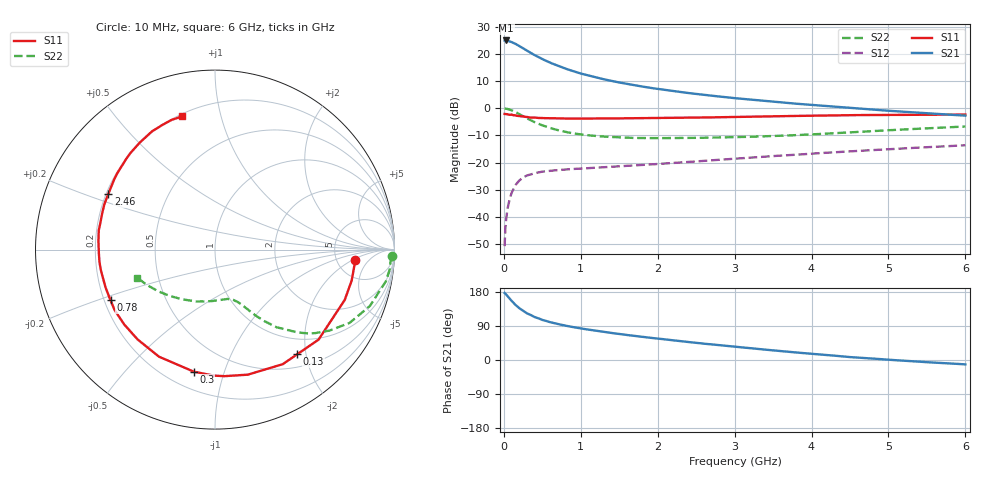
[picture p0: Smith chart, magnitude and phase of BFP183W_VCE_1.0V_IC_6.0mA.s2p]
! Infineon Technologies  Discrete & RF Semiconductors
! BFP183W
! VCE = 1.0 V,  IC =  6.0 mA
! Common Emitter S-Parameters:  Jan 2016
# GHz  S  MA  R  50
!  f  S11  S21  S12  S22
! GHz  MAG  ANG  MAG  ANG  MAG  ANG  MAG  ANG
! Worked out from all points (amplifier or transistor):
!   210 points, 10 MHz to 6 GHz, reference 50 ohm
!   highest |S21| = 24.9 dB at 30 MHz (marker M1)
!   |S21| within 3 dB of that: start of sweep to 256.6 MHz
!   unconditionally stable (mu >= 1): 1.553 GHz to end of sweep
!   at 185 MHz: K = 0.17, MSG = 25.1 dB, |S12| = -27.1 dB
!   at 1.52 GHz: K = 0.99, MSG = 15.4 dB, |S12| = -21.4 dB
!   at 6 GHz: K = 1.05, MAG = 4.1 dB, |S12| = -13.6 dB
!   S11 on the Smith chart (normalised r, x): 10 MHz: 7.51, -2.34; 130 MHz: 0.71, -1.84; 300 MHz: 0.31, -0.79; 780 MHz: 0.23, -0.22; 2.46 GHz: 0.21, +0.23; 6 GHz: 0.21, +0.76
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0.01  0.7838 -4.4  17.59 176.9  0.0029 91.2  0.9868 -2.1
0.02  0.7807 -8.7  17.63 175.2  0.0062 85.4  0.9796 -4.2
0.03  0.7807 -12.8  17.64 172.8  0.009 84.1  0.9799 -6.4
0.05  0.7753 -21.2  17.43 167.7  0.0145 78.9  0.9684 -10.5
0.1  0.7645 -41.0  16.52 156.3  0.0274 69.6  0.9184 -20.0
0.13  0.7414 -51.9  15.75 150.1  0.0339 63.7  0.8771 -25.0
0.15  0.7416 -59.4  15.34 145.6  0.0384 60.9  0.8536 -28.6
0.2  0.7204 -75.3  13.95 136.9  0.0466 54.2  0.781 -35.3
0.26  0.7019 -90.7  12.4 128.5  0.054 47.6  0.7012 -41.8
0.3  0.6901 -99.9  11.41 123.2  0.0579 44.2  0.6516 -45.1
0.4  0.6733 -117.6  9.485 113.4  0.0638 37.9  0.5536 -51.5
0.5  0.6607 -130.7  8.008 105.8  0.0681 34.3  0.4838 -55.4
0.6  0.6556 -140.5  6.884 99.9  0.0706 31.8  0.4322 -58.3
0.78  0.6469 -154.1  5.486 91.6  0.0744 29.7  0.3724 -61.8
1.02  0.6442 -166.5  4.275 82.7  0.0779 28.8  0.3275 -65.5
1.42  0.6487 178.7  3.136 70.8  0.084 29.7  0.2947 -71.1
2.02  0.6603 162.2  2.247 56.1  0.0946 33.0  0.2817 -80.8
2.46  0.6705 152.5  1.86 46.2  0.1042 34.5  0.2839 -89.1
3.1  0.6938 140.0  1.488 33.1  0.1208 35.7  0.2958 -102.4
4.1  0.7312 123.8  1.123 14.7  0.149 34.7  0.3354 -125.3
5.1  0.7557 111.8  0.879 -0.6  0.1792 31.5  0.4002 -146.0
6  0.7645 103.8  0.73 -11.6  0.2081 27.8  0.4615 -160.3
